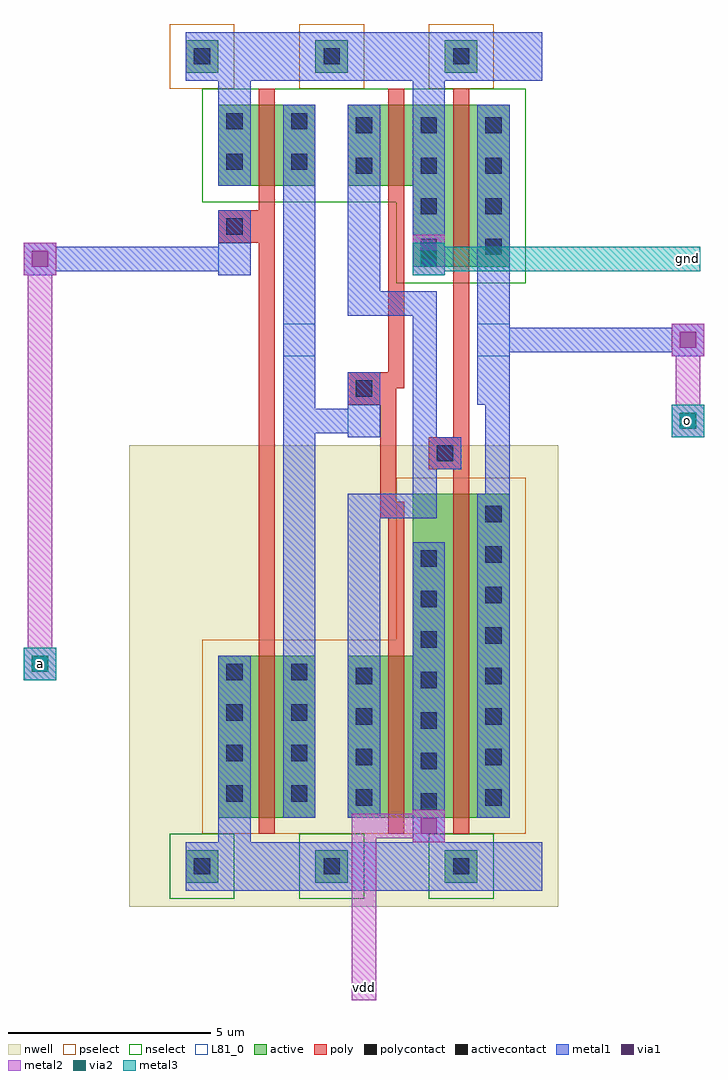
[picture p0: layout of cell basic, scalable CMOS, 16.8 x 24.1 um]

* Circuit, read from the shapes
.subckt basic a gnd o vdd
M1 BUFX2_1/A a gnd gnd nfet w=2u l=0.4u
M2 gnd BUFX2_1/A n1 gnd nfet w=2u l=0.4u
M3 o n1 gnd gnd nfet w=4u l=0.4u
M4 BUFX2_1/A a vdd vdd pfet w=4u l=0.4u
M5 vdd BUFX2_1/A n1 vdd pfet w=4u l=0.4u
M6 o n1 vdd vdd pfet w=8u l=0.4u
.ends

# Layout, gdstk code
import gdstk
lib = gdstk.Library(unit=1e-6, precision=1e-09)
def R(c, l, rs):  # rectangles x0, y0, x1, y1
    for r in rs: c.add(gdstk.rectangle(r[:2], r[2:], *l))
def A(c, l, x, y, w, h, nx, ny, dx, dy):  # array of equal rectangles
    R(c, l, [(x+i*dx, y+j*dy, x+i*dx+w, y+j*dy+h) for i in range(nx) for j in range(ny)])
nwell = (42, 0)
active = (43, 0)
pselect = (44, 0)
nselect = (45, 0)
poly = (46, 0)
polycontact = (47, 0)
activecontact = (48, 0)
metal1 = (49, 0)
via1 = (50, 0)
metal2 = (51, 0)
via2 = (61, 0)
metal3 = (62, 0)
L81_0 = (81, 0)

invx1 = lib.new_cell('INVX1')
R(invx1, nwell, [(-1.8,9.6,5.2,21)])
R(invx1, active, [(-0.4,-0.4,0.4,0.4), (0.4,1.2,2.8,3.2), (0.4,14.8,2.8,18.8), (-0.4,19.6,0.4,20.4)])
R(invx1, pselect, [(-0.8,-0.8,0.8,0.8), (0,14.4,3.2,19.2)])
R(invx1, nselect, [(0,0.8,3.2,3.6), (-0.8,19.2,0.8,20.8)])
R(invx1, poly, [(1.4,0.8,1.8,3.8), (0.4,3.8,1.8,4.6), (1.4,4.6,1.8,19.2)])
R(invx1, polycontact, [(0.6,4,1,4.4)])
A(invx1, activecontact, 0.6, 15, 0.4, 0.4, 1, 4, 0, 1)
A(invx1, activecontact, 2.2, 15, 0.4, 0.4, 1, 4, 0, 1)
R(invx1, activecontact, [(-0.2,-0.2,0.2,0.2), (0.6,1.4,1,1.8), (2.2,1.4,2.6,1.8), (0.6,2.4,1,2.8), (2.2,2.4,2.6,2.8), (-0.2,19.8,0.2,20.2)])
R(invx1, metal1, [(-0.4,-0.6,3.6,0.6), (0.4,0.6,1.2,3.2), (2,1.2,2.8,18.8), (0.4,3.8,1.2,5.4), (0.4,14.8,1.2,19.4), (-0.4,19.4,3.6,20.6)])
R(invx1, L81_0, [(0.4,4.6,1.2,5.4), (2,6.6,2.8,7.4)])
invx1.add(gdstk.Label('A', (0.8,5), layer=109, texttype=0))
invx1.add(gdstk.Label('Y', (2.4,7), layer=109, texttype=0))
invx1.add(gdstk.Label('vdd', (0.8,20), layer=109, texttype=0))
invx1.add(gdstk.Label('gnd', (0.8,0), layer=109, texttype=0))

bufx2 = lib.new_cell('BUFX2')
R(bufx2, nwell, [(-1,9.6,5.6,21)])
R(bufx2, active, [(-0.4,-0.4,0.4,0.4), (2.8,-0.4,3.6,0.4), (0.4,1.2,4.4,3.2), (2,3.2,4.4,5.2), (2,10.8,4.4,14.8), (0.4,14.8,4.4,18.8), (-0.4,19.6,0.4,20.4), (2.8,19.6,3.6,20.4)])
R(bufx2, pselect, [(-0.8,-0.8,0.8,0.8), (2.4,-0.8,4,0.8), (1.6,10.4,4.8,14.4), (0,14.4,4.8,19.2)])
R(bufx2, nselect, [(0,0.8,4.8,3.6), (1.6,3.6,4.8,5.6), (-0.8,19.2,0.8,20.8), (2.4,19.2,4,20.8)])
R(bufx2, poly, [(1.4,0.8,1.8,7.8), (3,0.8,3.4,9.4), (0.4,7.8,1.8,8.2), (0.4,8.2,1.6,8.6), (1.2,8.6,1.6,11), (2.4,9.4,3.4,10.2), (3,10.2,3.4,19.2), (1.2,11,1.8,11.4), (1.4,11.4,1.8,19.2)])
R(bufx2, polycontact, [(0.6,8,1,8.4), (2.6,9.6,3,10)])
A(bufx2, activecontact, 0.6, 1.5, 0.4, 0.4, 3, 2, 1.6, 1)
A(bufx2, activecontact, 3.8, 11.1, 0.4, 0.4, 1, 8, 0, 1)
A(bufx2, activecontact, 2.2, 12.2, 0.4, 0.4, 1, 7, 0, 1)
A(bufx2, activecontact, 0.6, 15.1, 0.4, 0.4, 1, 4, 0, 1)
R(bufx2, activecontact, [(-0.2,-0.2,0.2,0.2), (3,-0.2,3.4,0.2), (2.2,3.5,2.6,3.9), (3.8,3.5,4.2,3.9), (2.2,4.5,2.6,4.9), (3.8,4.5,4.2,4.9), (-0.2,19.8,0.2,20.2), (3,19.8,3.4,20.2)])
R(bufx2, metal1, [(-0.4,-0.6,5.2,0.6), (2,0.6,2.8,5.2), (0.4,1.2,1.2,5.8), (3.6,1.2,4.4,8.6), (0.4,5.8,2.6,6.4), (2,6.4,2.6,9.4), (0.4,7.8,1.2,9.4), (3.8,8.6,4.4,10.8), (2,9.4,3.2,10.2), (2,10.2,2.6,10.8), (0.4,10.8,2.6,11.4), (3.6,10.8,4.4,18.8), (0.4,11.4,1.2,18.8), (2,12,2.8,19.4), (-0.4,19.4,5.2,20.6)])
R(bufx2, L81_0, [(3.6,6.6,4.4,7.4), (0.4,8.6,1.2,9.4)])
bufx2.add(gdstk.Label('vdd', (0.8,20), layer=109, texttype=0))
bufx2.add(gdstk.Label('gnd', (0.8,0), layer=109, texttype=0))
bufx2.add(gdstk.Label('A', (0.8,9), layer=109, texttype=0))
bufx2.add(gdstk.Label('Y', (4,7), layer=109, texttype=0))

basic = lib.new_cell('basic')
R(basic, metal1, [(6,1.6,6.8,2.4), (2.9,11.7,5.1,12.3), (12.4,13.6,13.2,13.7), (7.7,13.7,13.2,14.3), (12.4,14.3,13.2,14.4), (-3.6,15.6,-2.8,15.7), (-3.6,15.7,1.9,16.3), (6,15.8,6.8,16.6), (-3.6,16.3,-2.8,16.4)])
R(basic, via1, [(6.2,1.8,6.6,2.2), (12.6,13.8,13,14.2), (-3.4,15.8,-3,16.2), (6.2,16,6.6,16.4)])
R(basic, metal2, [(4.5,-2.3,5.1,1.7), (6,1.6,6.8,1.7), (4.5,1.7,6.8,2.3), (6,2.3,6.8,2.4), (-3.6,5.6,-2.8,6.4), (-3.5,6.4,-2.9,15.6), (12.4,11.6,13.2,12.4), (12.5,12.4,13.1,13.6), (12.4,13.6,13.2,14.4), (-3.6,15.6,-2.8,16.4), (6,15.6,6.8,16.6)])
R(basic, via2, [(-3.4,5.8,-3,6.2), (12.6,11.8,13,12.2), (6.2,15.8,6.6,16.2)])
R(basic, metal3, [(-3.6,5.6,-2.8,6.4), (12.4,11.6,13.2,12.4), (6,15.6,6.8,15.7), (6,15.7,13.1,16.3), (6,16.3,6.8,16.4)])
basic.add(gdstk.Reference(invx1, (0.8,21), x_reflection=True))
basic.add(gdstk.Reference(bufx2, (4,21), x_reflection=True))
basic.add(gdstk.Label('a', (-3.2,6), layer=62, texttype=0))
basic.add(gdstk.Label('gnd', (12.8,16), layer=62, texttype=0))
basic.add(gdstk.Label('o', (12.8,12), layer=62, texttype=0))
basic.add(gdstk.Label('vdd', (4.8,-2), layer=51, texttype=0))

lib.write_gds('basic.gds')
